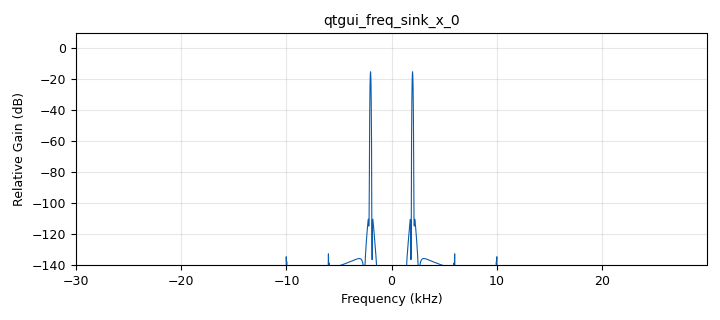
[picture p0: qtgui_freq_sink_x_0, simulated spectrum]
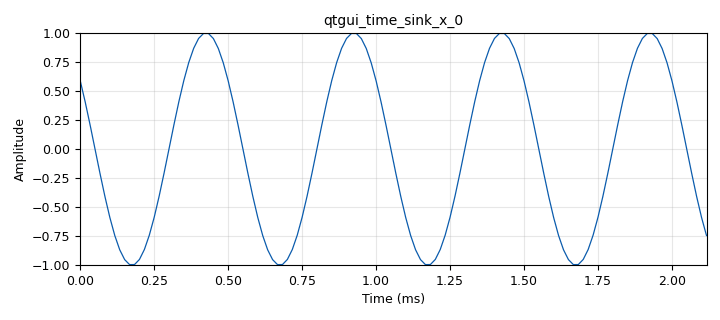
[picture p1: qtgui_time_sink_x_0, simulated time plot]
options:
  parameters:
    author: Daniela_Cabrales_L1B_G4
    generate_options: qt_gui
    id: Practica_2
    output_language: python
    title: Muestreo_en_GNURADIO
  states: {}

blocks:
- name: freq
  id: variable_qtgui_range
  parameters:
    label: frequency
    start: '1000'
    step: '1000'
    stop: '40000'
    value: '2000'
  states: {}
- name: samp_rate
  id: variable_qtgui_range
  parameters:
    label: frecuencia de muestreo
    start: '1000'
    step: '1000'
    stop: '80000'
    value: '60000'
  states: {}
- name: analog_sig_source_x_0
  id: analog_sig_source_x
  parameters:
    amp: '1'
    freq: '2000'
    offset: '0'
    phase: '0'
    samp_rate: samp_rate
    type: float
    waveform: analog.GR_SIN_WAVE
  states: {}
- name: blocks_throttle_0
  id: blocks_throttle
  parameters:
    samples_per_second: samp_rate
    type: float
  states: {}
- name: qtgui_freq_sink_x_0
  id: qtgui_freq_sink_x
  parameters:
    bw: samp_rate
    fc: '0'
    fftsize: '2048'
    type: float
  states: {}
- name: qtgui_time_sink_x_0
  id: qtgui_time_sink_x
  parameters:
    size: '128'
    srate: samp_rate
    type: float
  states: {}

connections:
- [analog_sig_source_x_0, '0', blocks_throttle_0, '0']
- [blocks_throttle_0, '0', qtgui_freq_sink_x_0, '0']
- [blocks_throttle_0, '0', qtgui_time_sink_x_0, '0']

metadata:
  file_format: 1
